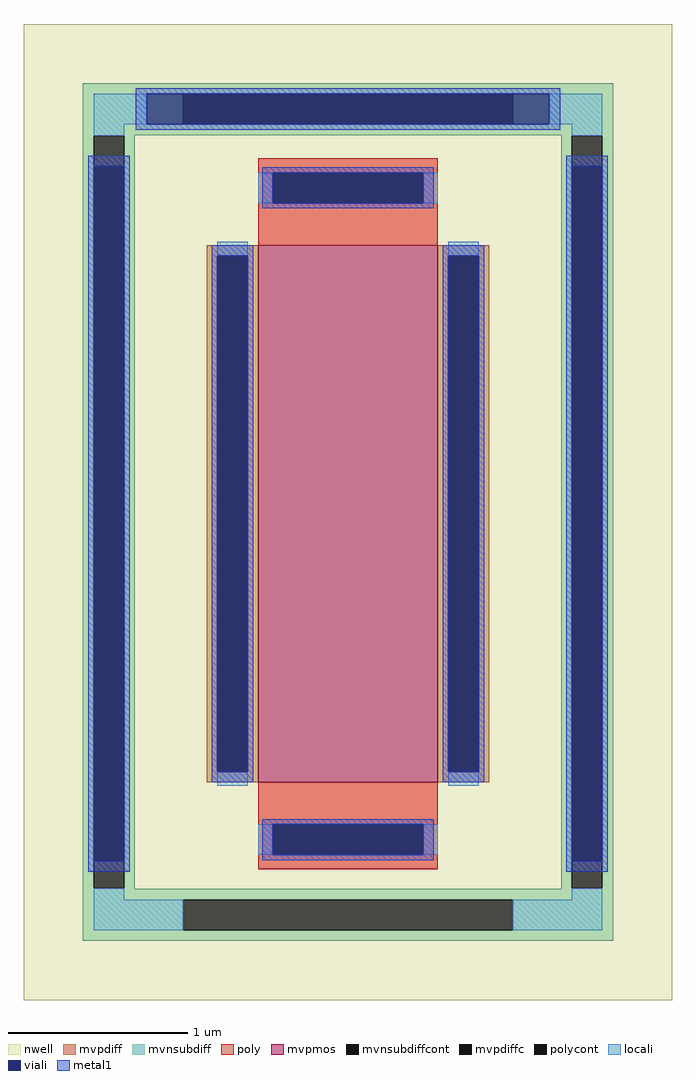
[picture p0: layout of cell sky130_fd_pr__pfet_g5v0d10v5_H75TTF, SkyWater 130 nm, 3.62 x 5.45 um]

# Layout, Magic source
magic
tech sky130A
magscale 1 2
<< nwell >>
rect -362 -543 362 547
<< mvpmos >>
rect -100 -300 100 300
<< mvpdiff >>
rect -158 288 -100 300
rect -158 -288 -146 288
rect -112 -288 -100 288
rect -158 -300 -100 -288
rect 100 288 158 300
rect 100 -288 112 288
rect 146 -288 158 288
rect 100 -300 158 -288
<< mvpdiffc >>
rect -146 -288 -112 288
rect 112 -288 146 288
<< mvnsubdiff >>
rect -296 469 296 481
rect -296 435 -184 469
rect 184 435 296 469
rect -296 423 296 435
rect -296 422 -238 423
rect -296 -418 -284 422
rect -250 -418 -238 422
rect 238 422 296 423
rect -296 -419 -238 -418
rect 238 -418 250 422
rect 284 -418 296 422
rect 238 -419 296 -418
rect -296 -431 296 -419
rect -296 -465 -184 -431
rect 184 -465 296 -431
rect -296 -477 296 -465
<< mvnsubdiffcont >>
rect -184 435 184 469
rect -284 -418 -250 422
rect 250 -418 284 422
rect -184 -465 184 -431
<< poly >>
rect -100 381 100 397
rect -100 347 -84 381
rect 84 347 100 381
rect -100 300 100 347
rect -100 -347 100 -300
rect -100 -381 -84 -347
rect 84 -381 100 -347
rect -100 -397 100 -381
<< polycont >>
rect -84 347 84 381
rect -84 -381 84 -347
<< locali >>
rect -284 435 -225 469
rect 225 435 284 469
rect -284 422 -250 435
rect 250 422 284 435
rect -100 347 -84 381
rect 84 347 100 381
rect -146 288 -112 304
rect -146 -304 -112 -288
rect 112 288 146 304
rect 112 -304 146 -288
rect -100 -381 -84 -347
rect 84 -381 100 -347
rect -284 -431 -250 -418
rect 250 -431 284 -418
rect -284 -465 -184 -431
rect 184 -465 284 -431
<< viali >>
rect -225 435 -184 469
rect -184 435 184 469
rect 184 435 225 469
rect -284 -388 -250 388
rect -84 347 84 381
rect -146 -288 -112 288
rect 112 -288 146 288
rect -84 -381 84 -347
rect 250 -388 284 388
<< metal1 >>
rect -237 469 237 475
rect -237 435 -225 469
rect 225 435 237 469
rect -237 429 237 435
rect -290 388 -244 400
rect -290 -388 -284 388
rect -250 -388 -244 388
rect 244 388 290 400
rect -96 381 96 387
rect -96 347 -84 381
rect 84 347 96 381
rect -96 341 96 347
rect -152 288 -106 300
rect -152 -288 -146 288
rect -112 -288 -106 288
rect -152 -300 -106 -288
rect 106 288 152 300
rect 106 -288 112 288
rect 146 -288 152 288
rect 106 -300 152 -288
rect -96 -347 96 -341
rect -96 -381 -84 -347
rect 84 -381 96 -347
rect -96 -387 96 -381
rect -290 -400 -244 -388
rect 244 -388 250 388
rect 284 -388 290 388
rect 244 -400 290 -388
<< properties >>
string FIXED_BBOX -263 -502 263 502
string gencell sky130_fd_pr__pfet_g5v0d10v5
string library sky130
string parameters w 3.0 l 1.0 m 1 nf 1 diffcov 100 polycov 100 guard 1 glc 1 grc 1 gtc 1 gbc 1 tbcov 100 rlcov 100 topc 1 botc 1 poverlap 0 doverlap 1 lmin 0.50 wmin 0.42 compatible {sky130_fd_pr__pfet_01v8  sky130_fd_pr__pfet_01v8_lvt sky130_fd_pr__pfet_01v8_hvt  sky130_fd_pr__pfet_g5v0d10v5} full_metal 1 viasrc 100 viadrn 100 viagate 100 viagb 0 viagr 80 viagl 80 viagt 90
<< end >>
